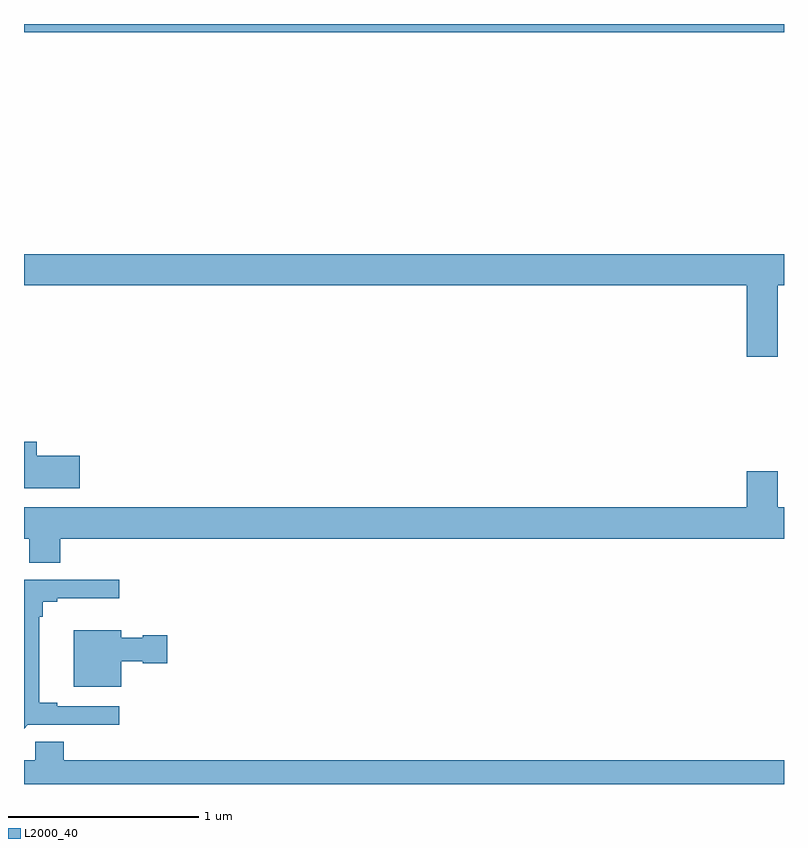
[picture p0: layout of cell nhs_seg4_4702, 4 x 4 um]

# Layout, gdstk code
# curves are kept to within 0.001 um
import gdstk
lib = gdstk.Library(unit=1e-6, precision=1e-09)
def R(c, l, rs):  # rectangles x0, y0, x1, y1
    for r in rs: c.add(gdstk.rectangle(r[:2], r[2:], *l))
def P(c, l, *ps):  # polygons
    for p in ps: c.add(gdstk.Polygon(p, *l))
L2000_40 = (2000, 40)

nhs_seg4_4702 = lib.new_cell('nhs_seg4_4702')
R(nhs_seg4_4702, L2000_40, [(365,760.856,369,760.9)])
P(nhs_seg4_4702, L2000_40, [(368.968,759.524),(369,759.524),(369,759.688),(365,759.688),(365,759.524),(368.804,759.524),(368.804,759.15),(368.968,759.15)],
  [(365.293,758.627),(365.068,758.627),(365.068,758.701),(365,758.701),(365,758.456),(365.293,758.456)],
  [(365,758.192),(365.027,758.192),(365.027,758.064),(365.191,758.064),(365.191,758.192),(369,758.192),(369,758.356),(368.968,758.356),(368.968,758.545),(368.804,758.545),(368.804,758.356),(365,758.356)],
  [(365.02,757.212),(365.5,757.211),(365.5,757.308),(365.176,757.308),(365.176,757.328),(365.081,757.328),(365.081,757.781),(365.099,757.781),(365.099,757.858),(365.176,757.858),(365.176,757.877),(365.5,757.877),(365.5,757.976),(365.287,757.976),(365.287,757.974),(365,757.974),(365,757.192)],
  [(365.512,757.547),(365.625,757.547),(365.625,757.535),(365.755,757.535),(365.755,757.682),(365.625,757.682),(365.625,757.669),(365.512,757.669),(365.512,757.708),(365.261,757.708),(365.261,757.412),(365.512,757.412)],
  [(369,757.024),(365.21,757.024),(365.21,757.122),(365.058,757.122),(365.058,757.024),(365,757.024),(365,756.9),(369,756.9)])

lib.write_gds('nhs_seg4_4702.gds')
